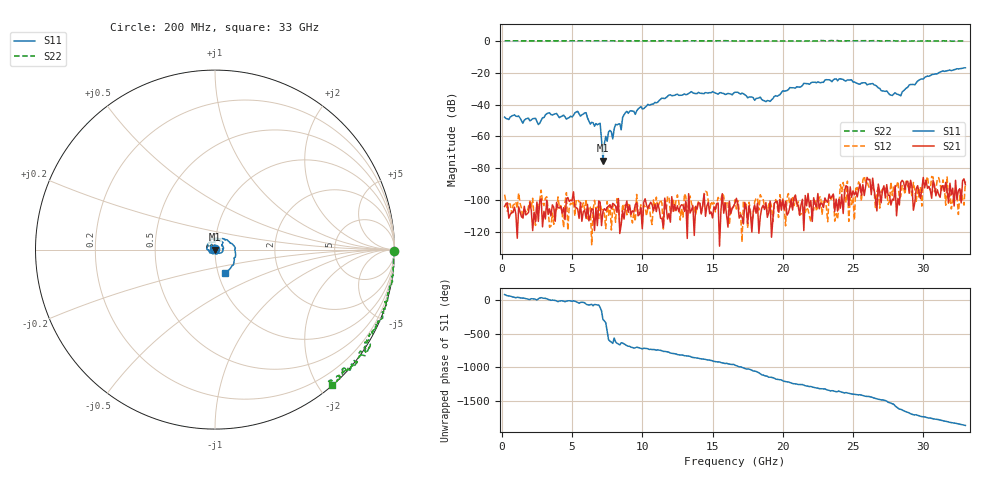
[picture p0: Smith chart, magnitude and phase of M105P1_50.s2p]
# GHZ S RI R 50
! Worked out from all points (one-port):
!   329 points, 200 MHz to 33 GHz, reference 50 ohm
!   lowest |S11| = -75.2 dB at 7.2 GHz (marker M1), VSWR 1.00, Z = 50 + j0.0165 ohm
!   |S11| at or under -10 dB: start of sweep to end of sweep
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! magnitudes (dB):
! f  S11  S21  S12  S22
! 200 MHz  -47.9  -103.9  -96.5  0.0
! 2.6 GHz  -52.5  -113.3  -106.2  0.0
! 3.3 GHz  -45.4  -108.9  -106.0  0.0
! 5.7 GHz  -46.4  -113.2  -104.4  0.0
! 7 GHz  -51.7  -101.2  -102.5  0.0
! 7.2 GHz  -75.2  -107.1  -105.9  0.0
! 7.4 GHz  -60.0  -106.4  -117.7  0.0
! 7.5 GHz  -63.0  -104.5  -100.8  0.0
! 7.7 GHz  -56.2  -102.9  -102.9  0.0
! 7.9 GHz  -61.5  -102.0  -103.2  0.0
! 8.1 GHz  -52.4  -103.8  -113.8  -0.1
! 8.5 GHz  -55.8  -115.1  -114.9  -0.1
! 8.6 GHz  -48.1  -106.7  -102.5  0.0
! 8.9 GHz  -44.2  -100.5  -109.1  0.0
! 9.5 GHz  -46.1  -102.8  -113.2  0.0
! 11.2 GHz  -37.5  -105.3  -102.0  0.0
! 16.6 GHz  -32.3  -101.8  -99.7  -0.1
! 19.1 GHz  -38.0  -100.6  -100.7  -0.1
! 22.1 GHz  -26.0  -113.3  -106.3  -0.2
! 24.9 GHz  -24.5  -98.1  -102.7  0.0
! 27.6 GHz  -33.7  -97.1  -100.6  -0.1
! 33 GHz  -17.0  -90.3  -88.2  0.0
